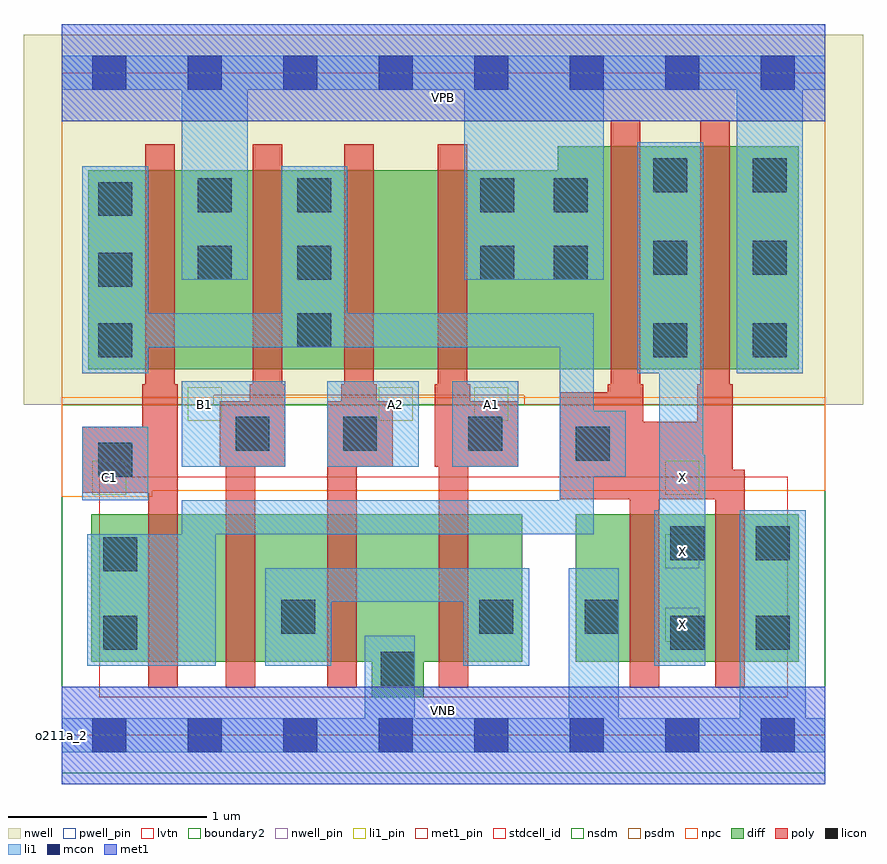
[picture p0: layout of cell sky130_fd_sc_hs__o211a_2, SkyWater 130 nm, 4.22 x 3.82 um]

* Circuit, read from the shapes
.subckt sky130_fd_sc_hs__o211a_2 A1 A2 B1 C1 VGND VNB VPB VPWR X
XM1 n1 C1 n2 VNB sky130_fd_pr__nfet_01v8_lvt w=0.74 l=0.15
XM2 n3 B1 n1 VNB sky130_fd_pr__nfet_01v8_lvt w=0.74 l=0.15
XM3 VGND A2 n3 VNB sky130_fd_pr__nfet_01v8_lvt w=0.74 l=0.15
XM4 n3 A1 VGND VNB sky130_fd_pr__nfet_01v8_lvt w=0.74 l=0.15
XM5 X n2 VGND VNB sky130_fd_pr__nfet_01v8_lvt w=0.74 l=0.15 m=2
XM6 VPWR C1 n2 VPB sky130_fd_pr__pfet_01v8 w=1 l=0.15
XM7 n2 B1 VPWR VPB sky130_fd_pr__pfet_01v8 w=1 l=0.15
XM8 n4 A2 n2 VPB sky130_fd_pr__pfet_01v8 w=1 l=0.15
XM9 VPWR A1 n4 VPB sky130_fd_pr__pfet_01v8 w=1 l=0.15
XM10 X n2 VPWR VPB sky130_fd_pr__pfet_01v8 w=1.12 l=0.15 m=2
.ends

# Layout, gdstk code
import gdstk
lib = gdstk.Library(unit=1e-6, precision=1e-09)
def R(c, l, rs):  # rectangles x0, y0, x1, y1
    for r in rs: c.add(gdstk.rectangle(r[:2], r[2:], *l))
def A(c, l, x, y, w, h, nx, ny, dx, dy):  # array of equal rectangles
    R(c, l, [(x+i*dx, y+j*dy, x+i*dx+w, y+j*dy+h) for i in range(nx) for j in range(ny)])
def P(c, l, *ps):  # polygons
    for p in ps: c.add(gdstk.Polygon(p, *l))
nwell_pin = (64, 16)
nwell = (64, 20)
diff = (65, 20)
poly = (66, 20)
licon = (66, 44)
li1_pin = (67, 16)
li1 = (67, 20)
mcon = (67, 44)
met1_pin = (68, 16)
met1 = (68, 20)
stdcell_id = (81, 4)
nsdm = (93, 44)
psdm = (94, 20)
npc = (95, 20)
pwell_pin = (122, 16)
lvtn = (125, 44)
boundary2 = (236, 0)

sky130_fd_sc_hs__o211a_2 = lib.new_cell('sky130_fd_sc_hs__o211a_2')
R(sky130_fd_sc_hs__o211a_2, nwell_pin, [(0,3.085,3.84,3.33)])
R(sky130_fd_sc_hs__o211a_2, nwell, [(-0.19,1.66,4.03,3.52)])
R(sky130_fd_sc_hs__o211a_2, diff, [(2.585,0.37,3.705,1.11)])
P(sky130_fd_sc_hs__o211a_2, diff, [(2.315,1.11),(0.15,1.11),(0.15,0.37),(1.56,0.37),(1.56,0.19),(1.82,0.19),(1.82,0.37),(2.315,0.37)],
  [(3.705,2.96),(2.495,2.96),(2.495,2.84),(0.135,2.84),(0.135,1.84),(3.705,1.84)])
P(sky130_fd_sc_hs__o211a_2, poly, [(1.125,1.765),(1.11,1.765),(1.11,2.97),(0.96,2.97),(0.96,1.765),(0.945,1.765),(0.945,1.68),(0.795,1.68),(0.795,1.35),(0.825,1.35),(0.825,0.24),(0.975,0.24),(0.975,1.35),(1.125,1.35)],
  [(0.585,1.765),(0.57,1.765),(0.57,2.97),(0.42,2.97),(0.42,1.765),(0.405,1.765),(0.405,1.55),(0.105,1.55),(0.105,1.22),(0.435,1.22),(0.435,0.24),(0.585,0.24)],
  [(1.665,1.68),(1.585,1.68),(1.585,1.765),(1.57,1.765),(1.57,2.97),(1.42,2.97),(1.42,1.765),(1.405,1.765),(1.405,1.68),(1.335,1.68),(1.335,0.24),(1.485,0.24),(1.485,1.35),(1.665,1.35)],
  [(2.295,1.68),(2.055,1.68),(2.055,1.765),(2.04,1.765),(2.04,2.97),(1.89,2.97),(1.89,1.765),(1.875,1.765),(1.875,1.35),(1.895,1.35),(1.895,0.24),(2.045,0.24),(2.045,1.35),(2.295,1.35)],
  [(3.435,1.335),(3.375,1.335),(3.375,1.765),(3.36,1.765),(3.36,3.09),(3.21,3.09),(3.21,1.765),(3.195,1.765),(3.195,1.575),(2.925,1.575),(2.925,1.765),(2.91,1.765),(2.91,3.09),(2.76,3.09),(2.76,1.765),(2.745,1.765),(2.745,1.725),(2.505,1.725),(2.505,1.185),(2.855,1.185),(2.855,0.24),(3.005,0.24),(3.005,1.185),(3.285,1.185),(3.285,0.24),(3.435,0.24)])
A(sky130_fd_sc_hs__o211a_2, licon, 0.185, 1.9, 0.17, 0.17, 1, 3, 0, 0.355)
A(sky130_fd_sc_hs__o211a_2, licon, 2.975, 1.9, 0.17, 0.17, 1, 3, 0, 0.415)
A(sky130_fd_sc_hs__o211a_2, licon, 3.475, 1.9, 0.17, 0.17, 1, 3, 0, 0.415)
A(sky130_fd_sc_hs__o211a_2, licon, 1.185, 1.95, 0.17, 0.17, 1, 3, 0, 0.34)
R(sky130_fd_sc_hs__o211a_2, licon, [(1.605,0.25,1.775,0.42), (0.21,0.43,0.38,0.6), (3.06,0.43,3.23,0.6), (3.49,0.43,3.66,0.6), (1.105,0.51,1.275,0.68), (2.1,0.51,2.27,0.68), (2.63,0.51,2.8,0.68), (0.21,0.825,0.38,0.995), (3.06,0.88,3.23,1.05), (3.49,0.88,3.66,1.05), (0.185,1.3,0.355,1.47), (2.585,1.38,2.755,1.55), (0.875,1.43,1.045,1.6), (1.415,1.43,1.585,1.6), (2.045,1.43,2.215,1.6), (0.685,2.29,0.855,2.46), (2.105,2.29,2.275,2.46), (2.475,2.29,2.645,2.46), (0.685,2.63,0.855,2.8), (2.105,2.63,2.275,2.8), (2.475,2.63,2.645,2.8)])
A(sky130_fd_sc_hs__o211a_2, li1_pin, 3.035, 0.47, 0.17, 0.17, 1, 3, 0, 0.37)
R(sky130_fd_sc_hs__o211a_2, li1_pin, [(0.155,1.21,0.325,1.38), (0.635,1.58,0.805,1.75), (1.595,1.58,1.765,1.75), (2.075,1.58,2.245,1.75)])
R(sky130_fd_sc_hs__o211a_2, li1, [(0.105,1.18,0.435,1.55), (0.605,1.35,1.125,1.78), (1.335,1.35,1.795,1.78), (1.965,1.35,2.295,1.78)])
P(sky130_fd_sc_hs__o211a_2, li1, [(0,-0.085),(0,0.085),(1.525,0.085),(1.525,0.5),(1.775,0.5),(1.775,0.085),(2.55,0.085),(2.55,0.84),(2.8,0.84),(2.8,0.085),(3.41,0.085),(3.41,1.13),(3.74,1.13),(3.74,0.085),(3.84,0.085),(3.84,-0.085)],
  [(0,3.245),(0,3.415),(3.84,3.415),(3.84,3.245),(3.725,3.245),(3.725,1.82),(3.395,1.82),(3.395,3.245),(2.725,3.245),(2.725,2.29),(2.025,2.29),(2.025,3.245),(0.935,3.245),(0.935,2.29),(0.605,2.29),(0.605,3.245)],
  [(3.005,1.82),(2.895,1.82),(2.895,2.98),(3.225,2.98),(3.225,1.41),(3.235,1.41),(3.235,0.35),(2.98,0.35),(2.98,1.13),(3.005,1.13)],
  [(0.435,2.12),(1.105,2.12),(1.105,2.86),(1.435,2.86),(1.435,2.12),(2.675,2.12),(2.675,1.63),(2.835,1.63),(2.835,1.3),(2.675,1.3),(2.675,1.01),(0.775,1.01),(0.775,0.35),(0.13,0.35),(0.13,1.01),(0.605,1.01),(0.605,1.18),(2.505,1.18),(2.505,1.95),(0.435,1.95),(0.435,1.82),(0.105,1.82),(0.105,2.86),(0.435,2.86)],
  [(2.02,0.67),(1.355,0.67),(1.355,0.35),(1.025,0.35),(1.025,0.84),(2.35,0.84),(2.35,0.35),(2.02,0.35)])
A(sky130_fd_sc_hs__o211a_2, mcon, 0.155, -0.085, 0.17, 0.17, 8, 2, 0.48, 3.33)
R(sky130_fd_sc_hs__o211a_2, met1_pin, [(0,0,3.84,0.245), (0,3.085,3.84,3.33)])
R(sky130_fd_sc_hs__o211a_2, met1, [(0,-0.245,3.84,0.245), (0,3.085,3.84,3.575)])
R(sky130_fd_sc_hs__o211a_2, stdcell_id, [(0,0,3.84,3.33)])
R(sky130_fd_sc_hs__o211a_2, nsdm, [(0,-0.19,3.84,1.66)])
P(sky130_fd_sc_hs__o211a_2, psdm, [(3.84,3.52),(0,3.52),(0,1.66),(0.765,1.66),(0.765,1.71),(2.325,1.71),(2.325,1.66),(3.84,1.66)])
P(sky130_fd_sc_hs__o211a_2, npc, [(3.84,1.7),(0,1.7),(0,1.2),(0.455,1.2),(0.455,1.23),(3.84,1.23)])
R(sky130_fd_sc_hs__o211a_2, pwell_pin, [(0,0,3.84,0.245)])
R(sky130_fd_sc_hs__o211a_2, lvtn, [(0.19,0.19,3.65,1.3)])
R(sky130_fd_sc_hs__o211a_2, boundary2, [(0,0,3.84,3.33)])
sky130_fd_sc_hs__o211a_2.add(gdstk.Label('o211a_2', (0,0), layer=83, texttype=44))
sky130_fd_sc_hs__o211a_2.add(gdstk.Label('VNB', (1.92,0.123), layer=64, texttype=59))
sky130_fd_sc_hs__o211a_2.add(gdstk.Label('VPB', (1.92,3.208), layer=64, texttype=5))
sky130_fd_sc_hs__o211a_2.add(gdstk.Label('VPWR', (1.92,3.208), layer=68, texttype=5))
sky130_fd_sc_hs__o211a_2.add(gdstk.Label('VGND', (1.92,0.123), layer=68, texttype=5))
sky130_fd_sc_hs__o211a_2.add(gdstk.Label('A2', (1.68,1.665), layer=67, texttype=5))
sky130_fd_sc_hs__o211a_2.add(gdstk.Label('C1', (0.24,1.295), layer=67, texttype=5))
sky130_fd_sc_hs__o211a_2.add(gdstk.Label('A1', (2.16,1.665), layer=67, texttype=5))
sky130_fd_sc_hs__o211a_2.add(gdstk.Label('B1', (0.72,1.665), layer=67, texttype=5))
sky130_fd_sc_hs__o211a_2.add(gdstk.Label('X', (3.12,0.555), layer=67, texttype=5))
sky130_fd_sc_hs__o211a_2.add(gdstk.Label('X', (3.12,0.925), layer=67, texttype=5))
sky130_fd_sc_hs__o211a_2.add(gdstk.Label('X', (3.12,1.295), layer=67, texttype=5))

lib.write_gds('sky130_fd_sc_hs__o211a_2.gds')
